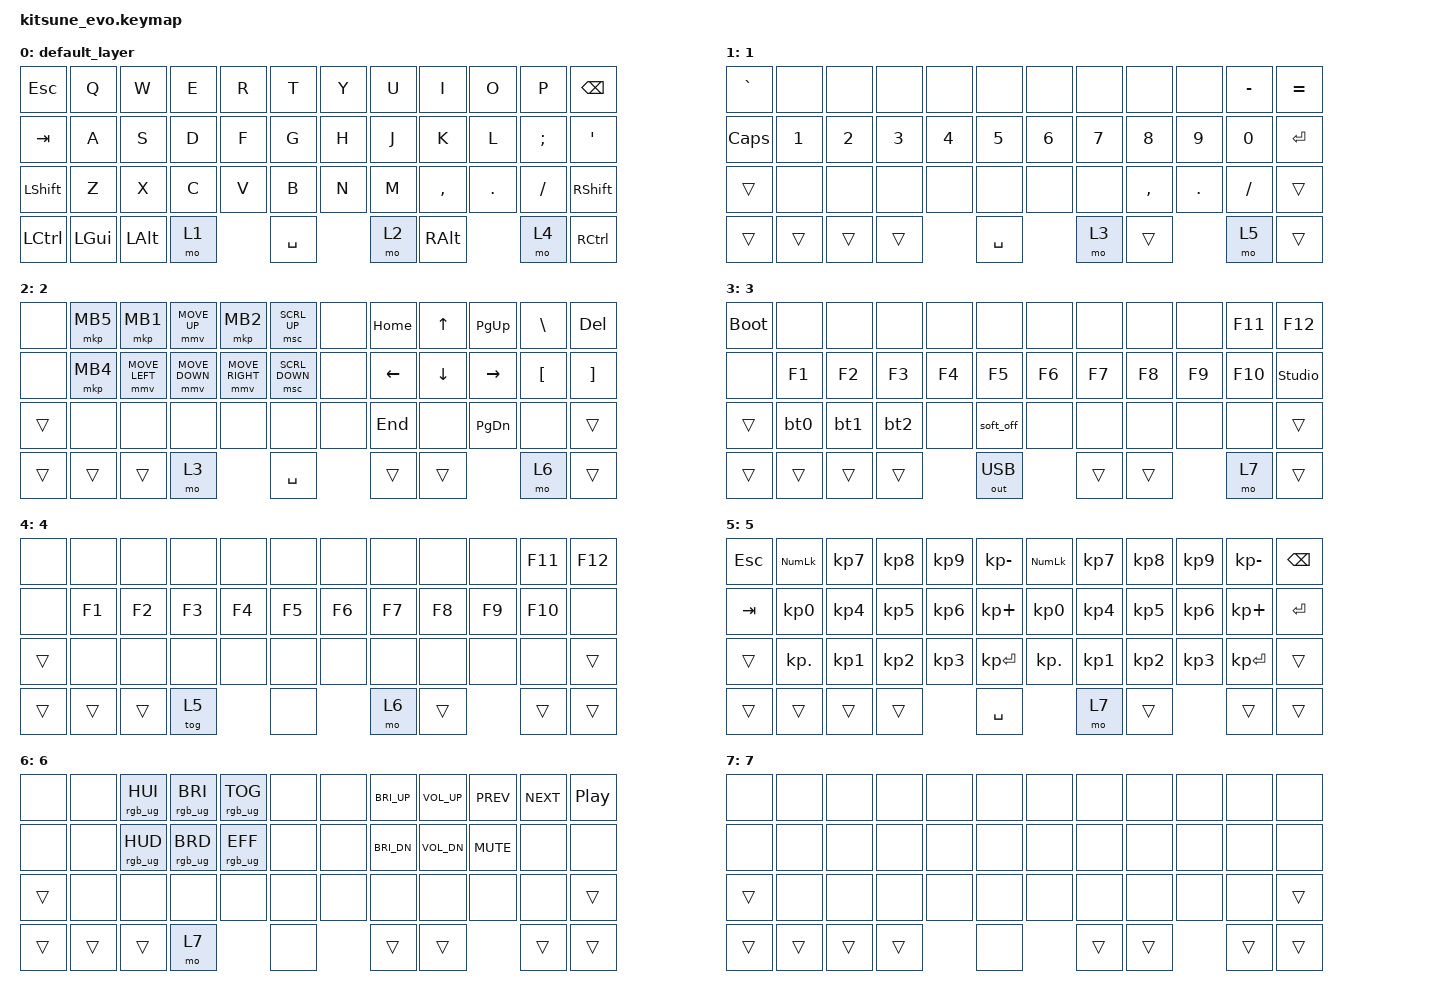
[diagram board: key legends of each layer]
#include <behaviors.dtsi>
#include <dt-bindings/zmk/keys.h>
#include <dt-bindings/zmk/bt.h>
#include <dt-bindings/zmk/outputs.h>
#include <dt-bindings/zmk/rgb.h>

#define ZMK_POINTING_DEFAULT_MOVE_VAL 2400 // default: 600
#define ZMK_POINTING_DEFAULT_SCRL_VAL 40   // default: 10

#include <dt-bindings/zmk/pointing.h>

&mmv {
    time-to-max-speed-ms = <400>;
    acceleration-exponent = <1>;
};

&msc {
    time-to-max-speed-ms = <400>;
    acceleration-exponent = <1>;
};

&soft_off {
    hold-time-ms = <1000>; // Only turn off when held for 1 second or longer
};

/ {
    macros {
        // Select, then output to BT profile
        bt_sel: bt_sel {
            compatible = "zmk,behavior-macro-one-param";
            wait-ms = <40>;
            tap-ms = <40>;
            #binding-cells = <1>;
            bindings
                = <&macro_param_1to2>
                , <&bt BT_SEL MACRO_PLACEHOLDER>
                , <&out OUT_BLE>
                ;
        };

        // Select, then clear, then output to BT profile
        bt_clr: bt_clr {
            compatible = "zmk,behavior-macro-one-param";
            wait-ms = <40>;
            tap-ms = <40>;
            #binding-cells = <1>;
            bindings
                = <&macro_param_1to2>
                , <&bt BT_SEL MACRO_PLACEHOLDER>
                , <&bt BT_CLR>
                , <&out OUT_BLE>
                ;
        };
    };

    behaviors {
        // Connect on tap, forget and put into pairing mode on hold, for selected BT profile
        bt_selclr: bt_selclr {
            compatible = "zmk,behavior-hold-tap";
            #binding-cells = <2>;
            flavor = "hold-preferred";
            tapping-term-ms = <1000>; // Only register when held for 1 second or longer
            bindings = <&bt_clr>, <&bt_sel>;
        };

#define BT_SELCLR(profile) &bt_selclr profile profile // Macro to apply bt_selclr to the same profile

        // Connect on tap, disconnect on double tap, forget and put into pairing mode on hold, for BT profile 0
        bt0: bt0 {
            compatible = "zmk,behavior-tap-dance";
            #binding-cells = <0>;
            tapping-term-ms = <200>;
            bindings = <BT_SELCLR(0)>, <&bt BT_DISC 0>;
        };

        // Connect on tap, disconnect on double tap, forget and put into pairing mode on hold, for BT profile 1
        bt1: bt1 {
            compatible = "zmk,behavior-tap-dance";
            #binding-cells = <0>;
            tapping-term-ms = <200>;
            bindings = <BT_SELCLR(1)>, <&bt BT_DISC 1>;
        };

        // Connect on tap, disconnect on double tap, forget and put into pairing mode on hold, for BT profile 2
        bt2: bt2 {
            compatible = "zmk,behavior-tap-dance";
            #binding-cells = <0>;
            tapping-term-ms = <200>;
            bindings = <BT_SELCLR(2)>, <&bt BT_DISC 2>;
        };
    };

    keymap {
        compatible = "zmk,keymap";

        default_layer {
            bindings = <
                &kp ESC   &kp Q    &kp W    &kp E &kp R &kp T     &kp Y &kp U &kp I     &kp O   &kp P     &kp BSPC
                &kp TAB   &kp A    &kp S    &kp D &kp F &kp G     &kp H &kp J &kp K     &kp L   &kp SEMI  &kp SQT
                &kp LSHFT &kp Z    &kp X    &kp C &kp V &kp B     &kp N &kp M &kp COMMA &kp DOT &kp SLASH &kp RSHFT
                &kp LCTRL &kp LGUI &kp LALT &mo 1       &kp SPACE       &mo 2 &kp RALT          &mo 4     &kp RCTRL
            >;
        };

        1 {
            bindings = <
                &kp GRAVE &none  &none  &none  &none  &none     &none  &none  &none     &none   &kp MINUS &kp EQUAL
                &kp CAPS  &kp N1 &kp N2 &kp N3 &kp N4 &kp N5    &kp N6 &kp N7 &kp N8    &kp N9  &kp N0    &kp ENTER
                &trans    &none  &none  &none  &none  &none     &none  &none  &kp COMMA &kp DOT &kp SLASH &trans
                &trans    &trans &trans &trans        &kp SPACE        &mo 3  &trans            &mo 5    &trans
            >;
        };

        2 {
            bindings = <
                &none  &mkp MB5 &mkp MB1       &mmv MOVE_UP   &mkp MB2        &msc SCRL_UP   &none &kp HOME &kp UP   &kp PG_UP &kp BSLH &kp DEL
                &none  &mkp MB4 &mmv MOVE_LEFT &mmv MOVE_DOWN &mmv MOVE_RIGHT &msc SCRL_DOWN &none &kp LEFT &kp DOWN &kp RIGHT &kp LBKT &kp RBKT
                &trans &none    &none          &none          &none           &none          &none &kp END  &none    &kp PG_DN &none    &trans
                &trans &trans   &trans         &mo 3                          &kp SPACE            &trans   &trans             &mo 6    &trans
            >;
        };

        3 {
            bindings = <
                &bootloader &none  &none  &none  &none  &none        &none  &none  &none  &none  &kp F11 &kp F12
                &none       &kp F1 &kp F2 &kp F3 &kp F4 &kp F5       &kp F6 &kp F7 &kp F8 &kp F9 &kp F10 &studio_unlock
                &trans      &bt0   &bt1   &bt2   &none  &soft_off    &none  &none  &none  &none  &none   &trans
                &trans      &trans &trans &trans        &out OUT_USB        &trans &trans        &mo 7   &trans
            >;
        };

        4 {
            bindings = <
                &none  &none  &none  &none  &none  &none  &none  &none  &none  &none  &kp F11 &kp F12
                &none  &kp F1 &kp F2 &kp F3 &kp F4 &kp F5 &kp F6 &kp F7 &kp F8 &kp F9 &kp F10 &none
                &trans &none  &none  &none  &none  &none  &none  &none  &none  &none  &none   &trans
                &trans &trans &trans &tog 5        &none         &mo 6  &trans        &trans  &trans
            >;
        };

        5 {
            bindings = <
                &kp ESC &kp KP_NUM &kp KP_N7 &kp KP_N8 &kp KP_N9 &kp KP_MINUS &kp KP_NUM &kp KP_N7 &kp KP_N8 &kp KP_N9 &kp KP_MINUS &kp BSPC
                &kp TAB &kp KP_N0  &kp KP_N4 &kp KP_N5 &kp KP_N6 &kp KP_PLUS  &kp KP_N0  &kp KP_N4 &kp KP_N5 &kp KP_N6 &kp KP_PLUS  &kp ENTER
                &trans  &kp KP_DOT &kp KP_N1 &kp KP_N2 &kp KP_N3 &kp KP_ENTER &kp KP_DOT &kp KP_N1 &kp KP_N2 &kp KP_N3 &kp KP_ENTER &trans
                &trans  &trans     &trans    &trans              &kp SPACE               &mo 7     &trans              &trans       &trans
            >;
        };

        6 {
            bindings = <
                &none  &none  &rgb_ug RGB_HUI &rgb_ug RGB_BRI &rgb_ug RGB_TOG &none &none &kp C_BRI_UP &kp C_VOL_UP &kp C_PREV &kp C_NEXT &kp C_PP
                &none  &none  &rgb_ug RGB_HUD &rgb_ug RGB_BRD &rgb_ug RGB_EFF &none &none &kp C_BRI_DN &kp C_VOL_DN &kp C_MUTE &none      &none
                &trans &none  &none           &none           &none           &none &none &none        &none        &none      &none      &trans
                &trans &trans &trans          &mo 7                           &none       &trans       &trans                  &trans     &trans
            >;
        };

        7 {
            bindings = <
                &none  &none  &none  &none  &none &none &none &none  &none  &none &none  &none
                &none  &none  &none  &none  &none &none &none &none  &none  &none &none  &none
                &trans &none  &none  &none  &none &none &none &none  &none  &none &none  &trans
                &trans &trans &trans &trans       &none       &trans &trans       &trans &trans
            >;
        };
    };
};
